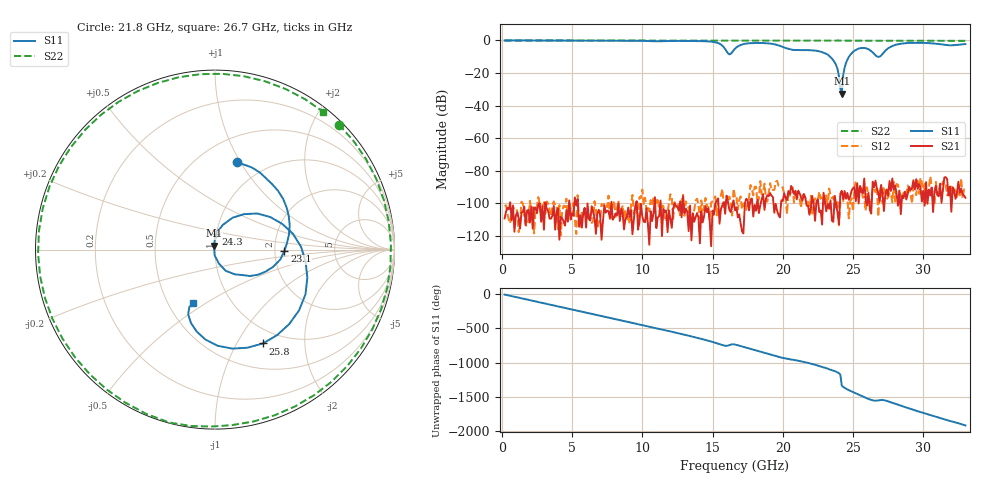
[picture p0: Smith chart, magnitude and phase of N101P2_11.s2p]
# GHZ S RI R 50
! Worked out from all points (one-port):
!   329 points, 200 MHz to 33 GHz, reference 50 ohm
!   lowest |S11| = -32.7 dB at 24.2 GHz (marker M1), VSWR 1.05, Z = 49.3 + j2.2 ohm
!   |S11| at or under -10 dB: 23.37 GHz to 24.72 GHz (1.344 GHz wide, 5.59 % of centre); 26.76742 GHz to 26.86965 GHz (102.2 MHz wide, 0.381 % of centre)
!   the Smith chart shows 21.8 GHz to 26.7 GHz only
!   S11 on the Smith chart (normalised r, x): 21.8 GHz: 0.74, +0.97; 23.1 GHz: 2.26, -0.05; 24.3 GHz: 0.99, +0.17; 25.8 GHz: 0.81, -1.29; 26.7 GHz: 0.66, -0.44
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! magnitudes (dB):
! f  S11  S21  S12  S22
! 200 MHz  0.0  -109.3  -101.7  0.0
! 5.7 GHz  0.0  -114.9  -104.8  -0.1
! 11.2 GHz  -0.5  -107.9  -103.5  -0.1
! 15.1 GHz  -1.0  -107.0  -97.5  -0.1
! 16.2 GHz  -8.5  -104.2  -95.8  -0.2
! 16.6 GHz  -5.1  -104.3  -96.5  -0.2
! 18.4 GHz  -1.5  -101.2  -86.4  -0.2
! 21.8 GHz  -6.0  -101.5  -99.0  -0.2
! 22.1 GHz  -6.1  -95.6  -107.3  -0.2
! 23.1 GHz  -8.3  -104.9  -95.2  -0.2
! 23.8 GHz  -15.1  -100.7  -102.0  -0.1
! 24 GHz  -21.9  -113.0  -113.5  -0.1
! 24.1 GHz  -29.8  -94.0  -98.9  -0.1
! 24.2 GHz  -32.7  -92.3  -98.0  -0.1
! 24.3 GHz  -21.4  -97.5  -98.8  -0.1
! 24.5 GHz  -13.9  -97.2  -95.0  -0.1
! 24.8 GHz  -8.9  -95.9  -98.8  -0.1
! 25.8 GHz  -4.6  -84.8  -96.1  -0.2
! 26.7 GHz  -9.8  -90.9  -89.8  -0.2
! 27.6 GHz  -4.3  -86.3  -93.9  -0.2
! 29 GHz  -1.5  -89.9  -91.6  -0.2
! 33 GHz  -2.2  -96.6  -91.5  -0.3
